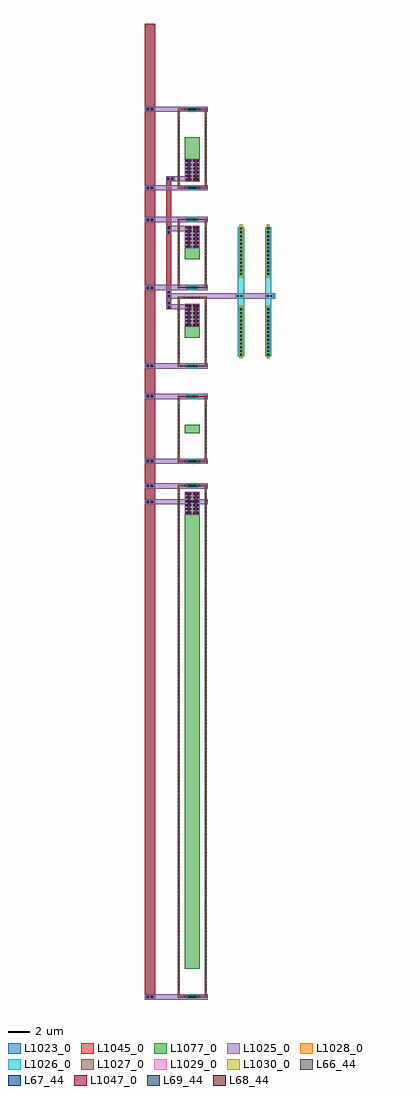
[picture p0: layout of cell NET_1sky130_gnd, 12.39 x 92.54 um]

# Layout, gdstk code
import gdstk
lib = gdstk.Library(unit=1e-6, precision=1e-09)
def R(c, l, rs):  # rectangles x0, y0, x1, y1
    for r in rs: c.add(gdstk.rectangle(r[:2], r[2:], *l))
def A(c, l, x, y, w, h, nx, ny, dx, dy):  # array of equal rectangles
    R(c, l, [(x+i*dx, y+j*dy, x+i*dx+w, y+j*dy+h) for i in range(nx) for j in range(ny)])
L66_44 = (66, 44)
L67_44 = (67, 44)
L68_44 = (68, 44)
L69_44 = (69, 44)
L1023_0 = (1023, 0)
L1025_0 = (1025, 0)
L1026_0 = (1026, 0)
L1027_0 = (1027, 0)
L1028_0 = (1028, 0)
L1029_0 = (1029, 0)
L1030_0 = (1030, 0)
L1045_0 = (1045, 0)
L1047_0 = (1047, 0)
L1077_0 = (1077, 0)

device_d_sky130_fd_pr__p = lib.new_cell('DEVICE_D$sky130_fd_pr__pfet_01v8_lvt$1')
R(device_d_sky130_fd_pr__p, L1030_0, [(0.5,-2.5,0.8,2.5)])

c_device_d_sky130_fd_pr__p = lib.new_cell('DEVICE_D$sky130_fd_pr__pfet_01v8_lvt')
R(c_device_d_sky130_fd_pr__p, L1030_0, [(-0.8,-2.5,-0.5,2.5)])

net_1sky130_gnd = lib.new_cell('NET_1sky130_gnd')
A(net_1sky130_gnd, L66_44, 179.22, 117.4, 0.17, 0.17, 5, 2, 0.34, 48.45)
A(net_1sky130_gnd, L66_44, 178.63, 118.165, 0.17, 0.17, 1, 139, 0, 0.34)
A(net_1sky130_gnd, L66_44, 181.17, 118.165, 0.17, 0.17, 1, 139, 0, 0.34)
A(net_1sky130_gnd, L66_44, 179.22, 168.18, 0.17, 0.17, 5, 2, 0.34, 6.15)
A(net_1sky130_gnd, L66_44, 178.63, 169.045, 0.17, 0.17, 1, 14, 0, 0.34)
A(net_1sky130_gnd, L66_44, 181.17, 169.045, 0.17, 0.17, 1, 14, 0, 0.34)
A(net_1sky130_gnd, L66_44, 179.22, 177.225, 0.17, 0.17, 5, 2, 0.34, 6.45)
A(net_1sky130_gnd, L66_44, 178.63, 178.07, 0.17, 0.17, 1, 15, 0, 0.34)
A(net_1sky130_gnd, L66_44, 181.17, 178.07, 0.17, 0.17, 1, 15, 0, 0.34)
A(net_1sky130_gnd, L66_44, 184.515, 178.275, 0.17, 0.17, 1, 13, 0, 0.36)
A(net_1sky130_gnd, L66_44, 187.115, 178.275, 0.17, 0.17, 1, 13, 0, 0.36)
A(net_1sky130_gnd, L66_44, 179.22, 184.65, 0.17, 0.17, 5, 2, 0.34, 6.45)
A(net_1sky130_gnd, L66_44, 178.63, 185.495, 0.17, 0.17, 1, 15, 0, 0.34)
A(net_1sky130_gnd, L66_44, 181.17, 185.495, 0.17, 0.17, 1, 15, 0, 0.34)
A(net_1sky130_gnd, L66_44, 184.515, 185.93, 0.17, 0.17, 1, 13, 0, 0.36)
A(net_1sky130_gnd, L66_44, 187.115, 185.93, 0.17, 0.17, 1, 13, 0, 0.36)
A(net_1sky130_gnd, L66_44, 179.22, 194.12, 0.17, 0.17, 5, 2, 0.34, 7.45)
A(net_1sky130_gnd, L66_44, 178.63, 194.955, 0.17, 0.17, 1, 18, 0, 0.34)
A(net_1sky130_gnd, L66_44, 181.17, 194.955, 0.17, 0.17, 1, 18, 0, 0.34)
R(net_1sky130_gnd, L66_44, [(179.535,163.29,179.725,165.29), (180.245,163.29,180.435,165.29), (179.535,181.115,179.725,183.115), (180.245,181.115,180.435,183.115), (179.535,188.54,179.725,190.54), (180.245,188.54,180.435,190.54), (179.535,194.85,179.725,196.85), (180.245,194.85,180.435,196.85)])
A(net_1sky130_gnd, L67_44, 179.36, 163.3, 0.17, 0.17, 4, 6, 0.36, 0.36)
A(net_1sky130_gnd, L67_44, 184.515, 178.275, 0.17, 0.17, 1, 13, 0, 0.36)
A(net_1sky130_gnd, L67_44, 187.115, 178.275, 0.17, 0.17, 1, 13, 0, 0.36)
A(net_1sky130_gnd, L67_44, 179.36, 181.13, 0.17, 0.17, 4, 6, 0.36, 0.36)
A(net_1sky130_gnd, L67_44, 184.515, 185.93, 0.17, 0.17, 1, 13, 0, 0.36)
A(net_1sky130_gnd, L67_44, 187.115, 185.93, 0.17, 0.17, 1, 13, 0, 0.36)
A(net_1sky130_gnd, L67_44, 179.36, 188.555, 0.17, 0.17, 4, 6, 0.36, 0.36)
A(net_1sky130_gnd, L67_44, 179.36, 194.87, 0.17, 0.17, 4, 6, 0.36, 0.36)
R(net_1sky130_gnd, L67_44, [(179.72,117.4,179.89,117.57), (180.08,117.4,180.25,117.57), (179.72,164.35,179.89,164.52), (180.08,164.35,180.25,164.52), (179.72,165.85,179.89,166.02), (180.08,165.85,180.25,166.02), (179.72,168.18,179.89,168.35), (180.08,168.18,180.25,168.35), (179.72,174.33,179.89,174.5), (180.08,174.33,180.25,174.5), (179.72,177.225,179.89,177.395), (180.08,177.225,180.25,177.395), (179.72,184.65,179.89,184.82), (180.08,184.65,180.25,184.82), (179.72,191.1,179.89,191.27), (180.08,191.1,180.25,191.27), (179.72,194.12,179.89,194.29), (180.08,194.12,180.25,194.29), (179.72,201.57,179.89,201.74), (180.08,201.57,180.25,201.74)])
A(net_1sky130_gnd, L68_44, 179.59, 117.41, 0.15, 0.15, 3, 2, 0.32, 46.95)
A(net_1sky130_gnd, L68_44, 179.59, 165.86, 0.15, 0.15, 3, 2, 0.32, 2.33)
A(net_1sky130_gnd, L68_44, 179.59, 174.34, 0.15, 0.15, 3, 2, 0.32, 2.895)
A(net_1sky130_gnd, L68_44, 179.745, 182.84, 0.15, 0.15, 3, 2, 0.32, 7.425)
A(net_1sky130_gnd, L68_44, 179.59, 184.66, 0.15, 0.15, 3, 2, 0.32, 6.45)
A(net_1sky130_gnd, L68_44, 179.59, 194.13, 0.15, 0.15, 3, 2, 0.32, 7.45)
A(net_1sky130_gnd, L68_44, 179.745, 194.975, 0.15, 0.15, 3, 1, 0.32, 0)
R(net_1sky130_gnd, L68_44, [(184.26,183.875,184.41,184.025), (184.58,183.875,184.73,184.025), (187.07,183.875,187.22,184.025), (187.39,183.875,187.54,184.025)])
R(net_1sky130_gnd, L69_44, [(175.67,117.385,175.87,117.585), (176.07,117.385,176.27,117.585), (175.67,164.335,175.87,164.535), (176.07,164.335,176.27,164.535), (175.67,165.835,175.87,166.035), (176.07,165.835,176.27,166.035), (175.67,168.165,175.87,168.365), (176.07,168.165,176.27,168.365), (175.67,174.315,175.87,174.515), (176.07,174.315,176.27,174.515), (175.67,177.21,175.87,177.41), (176.07,177.21,176.27,177.41), (177.655,182.765,177.855,182.965), (177.655,183.165,177.855,183.365), (177.655,183.8,177.855,184), (177.655,184.2,177.855,184.4), (175.67,184.635,175.87,184.835), (176.07,184.635,176.27,184.835), (177.655,189.89,177.855,190.09), (177.655,190.29,177.855,190.49), (175.67,191.085,175.87,191.285), (176.07,191.085,176.27,191.285), (175.67,194.105,175.87,194.305), (176.07,194.105,176.27,194.305), (177.605,194.95,177.805,195.15), (178.005,194.95,178.205,195.15), (175.67,201.555,175.87,201.755), (176.07,201.555,176.27,201.755)])
R(net_1sky130_gnd, L1023_0, [(175.47,117.235,176.47,209.775), (175.47,117.235,176.47,117.735), (175.47,164.185,176.47,164.685), (175.47,165.685,176.47,166.185), (175.47,168.015,176.47,168.515), (175.47,174.165,176.47,174.665), (175.47,177.06,176.47,177.56), (177.505,182.665,178.005,195.3), (177.505,182.665,178.005,183.465), (177.505,183.7,178.005,184.5), (175.47,184.485,176.47,184.985), (177.505,189.79,178.005,190.59), (175.47,190.935,176.47,191.435), (175.47,193.955,176.47,194.455), (177.505,194.8,178.305,195.3), (175.47,201.405,176.47,201.905)])
R(net_1sky130_gnd, L1025_0, [(175.47,117.235,181.465,117.735), (175.47,117.235,176.47,117.735), (179.485,117.235,180.485,117.735), (175.47,164.185,181.465,164.685), (175.47,164.185,176.47,164.685), (179.485,164.185,180.485,164.685), (175.47,165.685,181.465,166.185), (175.47,165.685,176.47,166.185), (179.485,165.685,180.485,166.185), (175.47,168.015,181.465,168.515), (175.47,168.015,176.47,168.515), (179.485,168.015,180.485,168.515), (175.47,174.165,181.465,174.665), (175.47,174.165,176.47,174.665), (179.485,174.165,180.485,174.665), (175.47,177.06,181.465,177.56), (175.47,177.06,176.47,177.56), (179.485,177.06,180.485,177.56), (177.505,182.665,180.64,183.165), (177.505,182.665,178.005,183.465), (179.64,182.665,180.64,183.165), (177.505,183.7,187.865,184.2), (177.505,183.7,178.005,184.5), (184.095,183.7,184.895,184.2), (186.905,183.7,187.705,184.2), (175.47,184.485,181.465,184.985), (175.47,184.485,176.47,184.985), (179.485,184.485,180.485,184.985), (177.505,189.79,178.005,190.59), (177.505,190.09,180.64,190.59), (179.64,190.09,180.64,190.59), (175.47,190.935,181.465,191.435), (175.47,190.935,176.47,191.435), (179.485,190.935,180.485,191.435), (175.47,193.955,181.465,194.455), (175.47,193.955,176.47,194.455), (179.485,193.955,180.485,194.455), (177.505,194.8,180.64,195.3), (177.505,194.8,178.305,195.3), (179.64,194.8,180.64,195.3), (175.47,201.405,181.465,201.905), (175.47,201.405,176.47,201.905), (179.485,201.405,180.485,201.905)])
R(net_1sky130_gnd, L1026_0, [(179.485,117.235,180.485,117.735), (179.33,163.235,180.64,165.34), (179.485,164.185,180.485,164.685), (179.485,165.685,180.485,166.185), (179.485,168.015,180.485,168.515), (179.485,174.165,180.485,174.665), (179.485,177.06,180.485,177.56), (184.305,178.215,184.895,190.48), (184.485,178.215,184.715,182.825), (186.905,178.215,187.495,190.48), (187.085,178.215,187.315,182.825), (179.33,181.06,180.64,183.165), (179.64,182.665,180.64,183.165), (184.095,183.7,184.895,184.2), (186.905,183.7,187.705,184.2), (179.485,184.485,180.485,184.985), (184.485,185.87,184.715,190.48), (187.085,185.87,187.315,190.48), (179.33,188.485,180.64,190.59), (179.64,190.09,180.64,190.59), (179.485,190.935,180.485,191.435), (179.485,193.955,180.485,194.455), (179.33,194.8,180.64,196.905), (179.64,194.8,180.64,195.3), (179.485,201.405,180.485,201.905)])
R(net_1sky130_gnd, L1027_0, [(178.63,117.4,181.34,117.57), (178.63,117.57,178.8,165.85), (181.17,117.57,181.34,165.85), (178.63,165.85,181.34,166.02), (178.63,168.18,178.8,174.33), (178.8,168.18,181.34,168.35), (181.17,168.35,181.34,174.33), (178.63,174.33,181.34,174.5), (178.63,177.225,178.8,183.675), (178.8,177.225,181.34,177.395), (181.17,177.395,181.34,183.675), (178.63,183.675,181.34,183.845), (178.63,184.65,178.8,191.1), (178.8,184.65,181.34,184.82), (181.17,184.82,181.34,191.1), (178.63,191.1,181.34,191.27), (178.63,194.12,178.8,201.57), (178.8,194.12,181.34,194.29), (181.17,194.29,181.34,201.57), (178.63,201.57,181.34,201.74)])
R(net_1sky130_gnd, L1028_0, [(179.485,117.235,180.485,117.735), (178.63,117.4,181.34,117.57), (178.63,117.57,178.8,165.85), (181.17,117.57,181.34,165.85), (179.28,163.21,180.69,165.37), (179.485,164.185,180.485,164.685), (179.485,165.685,180.485,166.185), (178.63,165.85,181.34,166.02), (179.485,168.015,180.485,168.515), (178.63,168.18,181.34,168.35), (178.63,168.35,178.8,174.33), (181.17,168.35,181.34,174.33), (179.485,174.165,180.485,174.665), (178.63,174.33,181.34,174.5), (179.485,177.06,180.485,177.56), (178.63,177.225,181.34,177.395), (178.63,177.395,178.8,183.675), (181.17,177.395,181.34,183.675), (184.515,178.195,184.685,182.845), (187.115,178.195,187.285,182.845), (179.28,181.035,180.69,183.195), (178.63,183.675,181.34,183.845), (179.485,184.485,180.485,184.985), (178.63,184.65,181.34,184.82), (178.63,184.82,178.8,191.1), (181.17,184.82,181.34,191.1), (184.515,185.85,184.685,190.5), (187.115,185.85,187.285,190.5), (179.28,188.46,180.69,190.62), (179.485,190.935,180.485,191.435), (178.63,191.1,181.34,191.27), (179.485,193.955,180.485,194.455), (178.63,194.12,181.34,194.29), (178.63,194.29,178.8,201.57), (181.17,194.29,181.34,201.57), (179.28,194.77,180.69,196.93), (179.485,201.405,180.485,201.905), (178.63,201.57,181.34,201.74)])
R(net_1sky130_gnd, L1029_0, [(179.28,163.27,180.69,165.37), (179.28,163.27,180.69,165.37), (179.28,181.095,180.69,183.195), (179.28,181.095,180.69,183.195), (179.28,188.52,180.69,190.62), (179.28,188.52,180.69,190.62), (179.28,194.77,180.69,196.87), (179.28,194.77,180.69,196.87)])
R(net_1sky130_gnd, L1030_0, [(184.45,178.02,184.75,183.02), (184.45,178.02,184.75,183.02), (187.05,178.02,187.35,183.02), (187.05,178.02,187.35,183.02), (184.45,185.675,184.75,190.675), (184.45,185.675,184.75,190.675), (187.05,185.675,187.35,190.675), (187.05,185.675,187.35,190.675)])
R(net_1sky130_gnd, L1045_0, [(175.47,117.235,176.47,209.775), (175.47,117.235,176.47,117.735), (175.47,164.185,176.47,164.685), (175.47,165.685,176.47,166.185), (175.47,168.015,176.47,168.515), (175.47,174.165,176.47,174.665), (175.47,177.06,176.47,177.56), (177.505,182.665,178.005,195.3), (177.505,182.665,178.005,183.465), (177.505,183.7,178.005,184.5), (175.47,184.485,176.47,184.985), (177.505,189.79,178.005,190.59), (175.47,190.935,176.47,191.435), (175.47,193.955,176.47,194.455), (177.505,194.8,178.305,195.3), (175.47,201.405,176.47,201.905)])
R(net_1sky130_gnd, L1047_0, [(179.535,163.29,179.725,165.29), (180.245,163.29,180.435,165.29), (179.535,181.115,179.725,183.115), (180.245,181.115,180.435,183.115), (179.535,188.54,179.725,190.54), (180.245,188.54,180.435,190.54), (179.535,194.85,179.725,196.85), (180.245,194.85,180.435,196.85)])
R(net_1sky130_gnd, L1077_0, [(179.28,120.15,180.69,163.27), (179.28,170.93,180.69,171.75), (179.28,179.975,180.69,181.095), (179.28,187.4,180.69,188.52), (179.28,196.87,180.69,198.99)])
net_1sky130_gnd.add(gdstk.Reference(device_d_sky130_fd_pr__p, (186.55,188.175)))
net_1sky130_gnd.add(gdstk.Reference(device_d_sky130_fd_pr__p, (186.55,180.52)))
net_1sky130_gnd.add(gdstk.Reference(c_device_d_sky130_fd_pr__p, (185.25,188.175)))
net_1sky130_gnd.add(gdstk.Reference(c_device_d_sky130_fd_pr__p, (185.25,180.52)))

lib.write_gds('NET_1sky130_gnd.gds')
